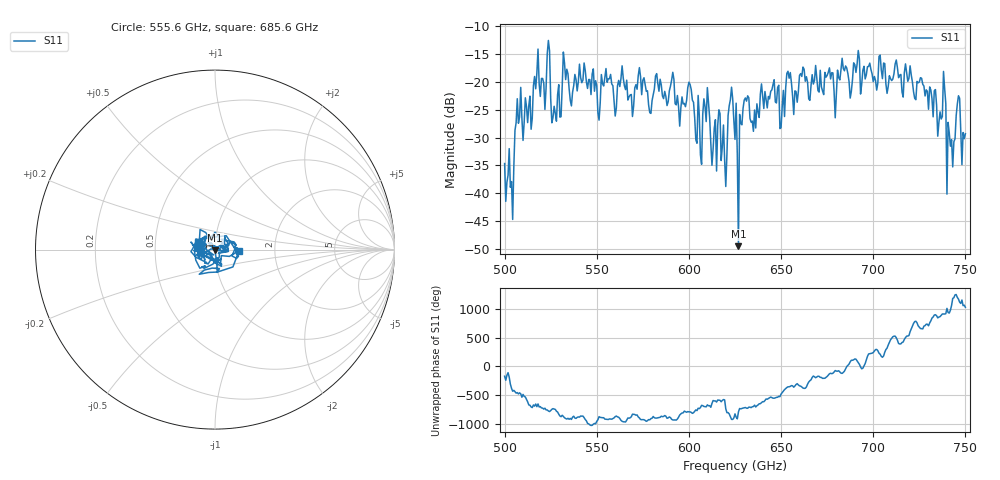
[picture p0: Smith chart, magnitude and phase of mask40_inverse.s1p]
!Created with skrf (http://scikit-rf.org).
# GHz S MA R 50.0
!freq magS11 angS11
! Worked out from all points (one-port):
!   401 points, 500 GHz to 750 GHz, reference 50 ohm
!   lowest |S11| = -49.5 dB at 626.9 GHz (marker M1), VSWR 1.01, Z = 50.1 - j0.316 ohm
!   |S11| at or under -10 dB: start of sweep to end of sweep
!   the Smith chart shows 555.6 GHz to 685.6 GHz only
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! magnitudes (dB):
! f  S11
! 500 GHz  -34.6
! 504.4 GHz  -44.7
! 507.5 GHz  -27.4
! 513.8 GHz  -22.6
! 516.9 GHz  -21.2
! 523.8 GHz  -12.6
! 526.9 GHz  -24.4
! 531.2 GHz  -20.8
! 562.5 GHz  -20.8
! 590.6 GHz  -19.7
! 593.8 GHz  -22.4
! 600.6 GHz  -20.5
! 605.6 GHz  -26.0
! 609.4 GHz  -27.1
! 618.8 GHz  -27.7
! 622.5 GHz  -23.2
! 625 GHz  -30.3
! 626.9 GHz  -49.5
! 631.2 GHz  -23.5
! 635 GHz  -28.9
! 656.2 GHz  -22.5
! 687.5 GHz  -22.9
! 718.8 GHz  -19.9
! 736.2 GHz  -25.4
! 738.1 GHz  -18.1
! 741.2 GHz  -29.2
! 746.2 GHz  -22.5
! 750 GHz  -29.3
